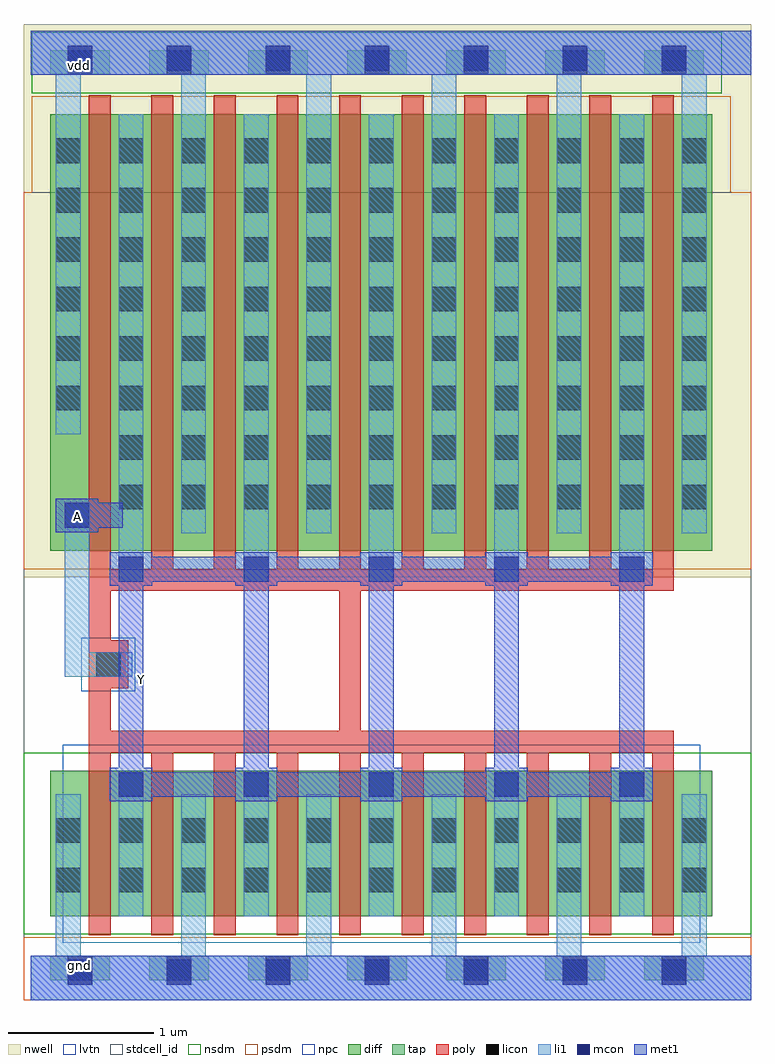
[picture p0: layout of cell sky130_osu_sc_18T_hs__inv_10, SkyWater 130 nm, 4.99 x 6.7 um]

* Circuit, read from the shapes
.subckt sky130_osu_sc_18T_hs__inv_10 A Y gnd vdd
XM1 Y A gnd gnd sky130_fd_pr__nfet_01v8_lvt w=1 l=0.15 m=10
XM2 Y A vdd vdd sky130_fd_pr__pfet_01v8 w=3 l=0.15 m=10
.ends

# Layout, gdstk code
import gdstk
lib = gdstk.Library(unit=1e-6, precision=1e-09)
def R(c, l, rs):  # rectangles x0, y0, x1, y1
    for r in rs: c.add(gdstk.rectangle(r[:2], r[2:], *l))
def A(c, l, x, y, w, h, nx, ny, dx, dy):  # array of equal rectangles
    R(c, l, [(x+i*dx, y+j*dy, x+i*dx+w, y+j*dy+h) for i in range(nx) for j in range(ny)])
nwell = (64, 20)
diff = (65, 20)
tap = (65, 44)
poly = (66, 20)
licon = (66, 44)
li1 = (67, 20)
mcon = (67, 44)
met1 = (68, 20)
stdcell_id = (81, 4)
nsdm = (93, 44)
psdm = (94, 20)
npc = (95, 20)
lvtn = (125, 44)

sky130_osu_sc_18t_hs__in = lib.new_cell('sky130_osu_sc_18T_hs__inv_10')
R(sky130_osu_sc_18t_hs__in, nwell, [(-0.045,2.905,4.95,6.705)])
R(sky130_osu_sc_18t_hs__in, diff, [(0.135,0.575,4.685,1.575), (0.135,3.085,4.685,6.085)])
A(sky130_osu_sc_18t_hs__in, tap, 0.135, 0.135, 0.41, 0.17, 7, 2, 0.68, 6.22)
A(sky130_osu_sc_18t_hs__in, poly, 0.4, 0.445, 0.15, 1.255, 10, 1, 0.43, 0)
A(sky130_osu_sc_18t_hs__in, poly, 0.4, 2.96, 0.15, 3.255, 10, 1, 0.43, 0)
R(sky130_osu_sc_18t_hs__in, poly, [(0.4,1.7,4.42,1.85), (0.4,1.85,0.55,2.14), (2.12,1.85,2.27,2.81), (0.4,2.14,0.67,2.47), (0.4,2.47,0.55,2.81), (0.4,2.81,4.42,2.96)])
A(sky130_osu_sc_18t_hs__in, licon, 0.255, 0.135, 0.17, 0.17, 7, 2, 0.68, 6.22)
A(sky130_osu_sc_18t_hs__in, licon, 0.175, 0.74, 0.17, 0.17, 11, 2, 0.43, 0.34)
A(sky130_osu_sc_18t_hs__in, licon, 0.605, 3.37, 0.17, 0.17, 10, 2, 0.43, 0.34)
A(sky130_osu_sc_18t_hs__in, licon, 0.175, 4.05, 0.17, 0.17, 11, 6, 0.43, 0.34)
R(sky130_osu_sc_18t_hs__in, licon, [(0.45,2.22,0.62,2.39)])
A(sky130_osu_sc_18t_hs__in, li1, 0.175, 0.305, 0.17, 1.11, 6, 1, 0.86, 0)
A(sky130_osu_sc_18t_hs__in, li1, 0.605, 0.575, 0.17, 0.99, 5, 1, 0.86, 0)
A(sky130_osu_sc_18t_hs__in, li1, 0.605, 2.875, 0.17, 3.21, 5, 1, 0.86, 0)
A(sky130_osu_sc_18t_hs__in, li1, 1.035, 3.205, 0.17, 3.15, 5, 1, 0.86, 0)
R(sky130_osu_sc_18t_hs__in, li1, [(0,0,4.95,0.305), (0.235,2.22,0.7,2.39), (0.235,2.39,0.405,3.415), (0.175,3.885,0.345,6.355), (0,6.355,4.95,6.66)])
A(sky130_osu_sc_18t_hs__in, mcon, 0.255, 0.105, 0.17, 0.17, 7, 2, 0.68, 6.28)
A(sky130_osu_sc_18t_hs__in, mcon, 0.605, 1.395, 0.17, 0.17, 5, 2, 0.86, 1.48)
R(sky130_osu_sc_18t_hs__in, mcon, [(0.235,3.245,0.405,3.415)])
A(sky130_osu_sc_18t_hs__in, met1, 0.545, 1.365, 0.29, 0.03, 5, 2, 0.86, 0.2)
A(sky130_osu_sc_18t_hs__in, met1, 0.605, 1.595, 0.17, 1.25, 5, 1, 0.86, 0)
A(sky130_osu_sc_18t_hs__in, met1, 0.545, 2.845, 0.29, 0.03, 5, 2, 0.86, 0.2)
R(sky130_osu_sc_18t_hs__in, met1, [(0,0,4.95,0.305), (0.545,1.395,4.275,1.565), (0.545,2.875,4.275,3.045), (0.175,3.215,0.465,3.245), (0.175,3.245,0.635,3.415), (0.175,3.415,0.465,3.445), (0,6.355,4.95,6.66)])
R(sky130_osu_sc_18t_hs__in, stdcell_id, [(-0.045,0,4.95,5.55)])
R(sky130_osu_sc_18t_hs__in, nsdm, [(-0.045,0.45,4.95,1.7), (0.01,6.23,4.75,6.65)])
R(sky130_osu_sc_18t_hs__in, psdm, [(-0.045,0,4.95,0.43), (-0.045,2.96,4.95,5.55), (0.01,5.55,4.81,6.21)])
R(sky130_osu_sc_18t_hs__in, npc, [(0.35,2.12,0.72,2.49)])
R(sky130_osu_sc_18t_hs__in, lvtn, [(0.22,0.395,4.6,1.755)])
sky130_osu_sc_18t_hs__in.add(gdstk.Label('gnd', (0.34,0.24), layer=68, texttype=16))
sky130_osu_sc_18t_hs__in.add(gdstk.Label('vdd', (0.34,6.42), layer=68, texttype=16))
sky130_osu_sc_18t_hs__in.add(gdstk.Label('Y', (0.76,2.2), layer=68, texttype=5))
sky130_osu_sc_18t_hs__in.add(gdstk.Label('A', (0.32,3.325), layer=68, texttype=5))

lib.write_gds('sky130_osu_sc_18T_hs__inv_10.gds')
